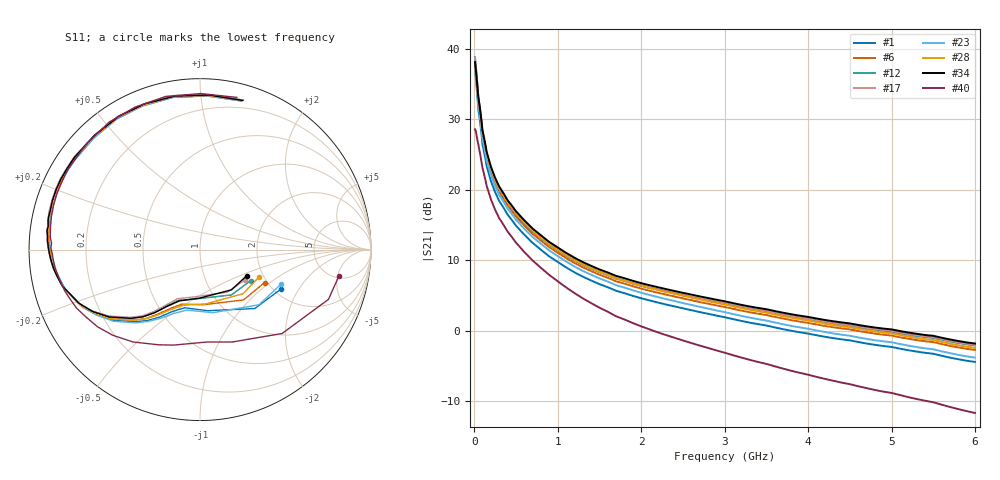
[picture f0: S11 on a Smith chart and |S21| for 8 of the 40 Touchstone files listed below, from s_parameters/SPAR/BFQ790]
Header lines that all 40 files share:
! Infineon Technologies  Discrete & RF Semiconductors
! BFQ790
! Common Emitter S-Parameters:  May 2015
# GHz  S  MA  R  50
!  f  S11  S21  S12  S22
! GHz  MAG  ANG  MAG  ANG  MAG  ANG  MAG  ANG
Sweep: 10 MHz to 6 GHz
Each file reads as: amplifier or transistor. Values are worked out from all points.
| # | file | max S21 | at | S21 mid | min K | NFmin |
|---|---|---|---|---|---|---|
| 1 | BFQ790_w_noise_VCE_2.0V_IC_60mA.s2p | 37.3 dB | 10 MHz | 4.0 dB at 2.2 GHz | 0.11 | 2.33 dB |
| 2 | BFQ790_w_noise_VCE_2.0V_IC_70mA.s2p | 37.7 dB | 10 MHz | 4.2 dB at 2.2 GHz | 0.12 | 2.39 dB |
| 3 | BFQ790_w_noise_VCE_2.0V_IC_80mA.s2p | 38.0 dB | 10 MHz | 4.3 dB at 2.2 GHz | 0.10 | 2.44 dB |
| 4 | BFQ790_w_noise_VCE_2.0V_IC_90mA.s2p | 38.2 dB | 10 MHz | 4.4 dB at 2.2 GHz | 0.11 | 2.52 dB |
| 5 | BFQ790_w_noise_VCE_3.0V_IC_0.10A.s2p | 38.1 dB | 10 MHz | 5.3 dB at 2.2 GHz | 0.21 | 2.59 dB |
| 6 | BFQ790_w_noise_VCE_3.0V_IC_0.11A.s2p | 38.3 dB | 10 MHz | 5.4 dB at 2.2 GHz | 0.19 | 2.66 dB |
| 7 | BFQ790_w_noise_VCE_3.0V_IC_0.12A.s2p | 38.4 dB | 10 MHz | 5.5 dB at 2.2 GHz | 0.20 | 2.73 dB |
| 8 | BFQ790_w_noise_VCE_3.0V_IC_0.14A.s2p | 38.5 dB | 10 MHz | 5.6 dB at 2.2 GHz | 0.20 | 2.89 dB |
| 9 | BFQ790_w_noise_VCE_3.0V_IC_0.16A.s2p | 38.7 dB | 10 MHz | 5.7 dB at 2.2 GHz | 0.19 | 3.03 dB |
| 10 | BFQ790_w_noise_VCE_3.0V_IC_0.18A.s2p | 38.7 dB | 10 MHz | 5.7 dB at 2.2 GHz | 0.17 | 3.17 dB |
| 11 | BFQ790_w_noise_VCE_3.0V_IC_0.20A.s2p | 38.8 dB | 10 MHz | 5.8 dB at 2.2 GHz | 0.16 | 3.33 dB |
| 12 | BFQ790_w_noise_VCE_3.0V_IC_0.22A.s2p | 38.8 dB | 10 MHz | 5.8 dB at 2.2 GHz | 0.17 | 3.50 dB |
| 13 | BFQ790_w_noise_VCE_3.0V_IC_0.24A.s2p | 38.8 dB | 10 MHz | 5.8 dB at 2.2 GHz | 0.16 | 3.64 dB |
| 14 | BFQ790_w_noise_VCE_3.0V_IC_0.25A.s2p | 38.8 dB | 10 MHz | 5.9 dB at 2.2 GHz | 0.14 | 3.72 dB |
| 15 | BFQ790_w_noise_VCE_3.0V_IC_0.26A.s2p | 38.8 dB | 10 MHz | 5.9 dB at 2.2 GHz | 0.12 | 3.78 dB |
| 16 | BFQ790_w_noise_VCE_3.0V_IC_0.28A.s2p | 38.8 dB | 10 MHz | 5.9 dB at 2.2 GHz | 0.15 | 3.93 dB |
| 17 | BFQ790_w_noise_VCE_3.0V_IC_0.30A.s2p | 38.8 dB | 10 MHz | 5.9 dB at 2.2 GHz | 0.14 | 4.10 dB |
| 18 | BFQ790_w_noise_VCE_3.0V_IC_10mA.s2p | 28.7 dB | 10 MHz | -0.4 dB at 2.2 GHz | 0.10 | 2.10 dB |
| 19 | BFQ790_w_noise_VCE_3.0V_IC_20mA.s2p | 32.8 dB | 10 MHz | 2.4 dB at 2.2 GHz | 0.12 | 2.10 dB |
| 20 | BFQ790_w_noise_VCE_3.0V_IC_30mA.s2p | 34.8 dB | 10 MHz | 3.6 dB at 2.2 GHz | 0.15 | 2.11 dB |
| 21 | BFQ790_w_noise_VCE_3.0V_IC_40mA.s2p | 35.9 dB | 10 MHz | 4.2 dB at 2.2 GHz | 0.16 | 2.18 dB |
| 22 | BFQ790_w_noise_VCE_3.0V_IC_50mA.s2p | 36.6 dB | 10 MHz | 4.5 dB at 2.2 GHz | 0.15 | 2.29 dB |
| 23 | BFQ790_w_noise_VCE_3.0V_IC_60mA.s2p | 37.1 dB | 10 MHz | 4.8 dB at 2.2 GHz | 0.17 | 2.33 dB |
| 24 | BFQ790_w_noise_VCE_3.0V_IC_70mA.s2p | 37.5 dB | 10 MHz | 5.0 dB at 2.2 GHz | 0.19 | 2.39 dB |
| 25 | BFQ790_w_noise_VCE_3.0V_IC_80mA.s2p | 37.7 dB | 10 MHz | 5.1 dB at 2.2 GHz | 0.17 | 2.44 dB |
| 26 | BFQ790_w_noise_VCE_3.0V_IC_90mA.s2p | 38.0 dB | 10 MHz | 5.2 dB at 2.2 GHz | 0.20 | 2.52 dB |
| 27 | BFQ790_w_noise_VCE_4.0V_IC_0.10A.s2p | 37.4 dB | 10 MHz | 5.7 dB at 2.2 GHz | 0.42 | 2.59 dB |
| 28 | BFQ790_w_noise_VCE_4.0V_IC_0.11A.s2p | 37.5 dB | 10 MHz | 5.8 dB at 2.2 GHz | 0.41 | 2.66 dB |
| 29 | BFQ790_w_noise_VCE_4.0V_IC_0.12A.s2p | 37.6 dB | 10 MHz | 5.9 dB at 2.2 GHz | 0.44 | 2.73 dB |
| 30 | BFQ790_w_noise_VCE_4.0V_IC_0.14A.s2p | 37.8 dB | 10 MHz | 6.0 dB at 2.2 GHz | 0.42 | 2.89 dB |
| 31 | BFQ790_w_noise_VCE_4.0V_IC_0.16A.s2p | 37.9 dB | 10 MHz | 6.0 dB at 2.2 GHz | 0.41 | 3.03 dB |
| 32 | BFQ790_w_noise_VCE_4.0V_IC_0.18A.s2p | 38.0 dB | 10 MHz | 6.1 dB at 2.2 GHz | 0.39 | 3.17 dB |
| 33 | BFQ790_w_noise_VCE_4.0V_IC_0.20A.s2p | 38.1 dB | 10 MHz | 6.2 dB at 2.2 GHz | 0.39 | 3.33 dB |
| 34 | BFQ790_w_noise_VCE_4.0V_IC_0.22A.s2p | 38.2 dB | 10 MHz | 6.2 dB at 2.2 GHz | 0.35 | 3.50 dB |
| 35 | BFQ790_w_noise_VCE_4.0V_IC_0.24A.s2p | 38.2 dB | 10 MHz | 6.2 dB at 2.2 GHz | 0.33 | 3.64 dB |
| 36 | BFQ790_w_noise_VCE_4.0V_IC_0.25A.s2p | 38.2 dB | 10 MHz | 6.2 dB at 2.2 GHz | 0.34 | 3.72 dB |
| 37 | BFQ790_w_noise_VCE_4.0V_IC_0.26A.s2p | 38.2 dB | 10 MHz | 6.2 dB at 2.2 GHz | 0.29 | 3.78 dB |
| 38 | BFQ790_w_noise_VCE_4.0V_IC_0.28A.s2p | 38.2 dB | 10 MHz | 6.2 dB at 2.2 GHz | 0.29 | 3.93 dB |
| 39 | BFQ790_w_noise_VCE_4.0V_IC_0.30A.s2p | 38.2 dB | 10 MHz | 6.2 dB at 2.2 GHz | 0.27 | 4.10 dB |
| 40 | BFQ790_w_noise_VCE_4.0V_IC_10mA.s2p | 28.6 dB | 10 MHz | -0.2 dB at 2.2 GHz | 0.16 | 2.10 dB |

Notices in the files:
internship_Nexedi/test_ampli_simple/transistor/BFQ790/s_parameters/SPAR/BFQ790/BFQ790_w_noise_VCE_2.0V_IC_60mA.s2p:
(c) 2015  Infineon Technologies AG, Munich
